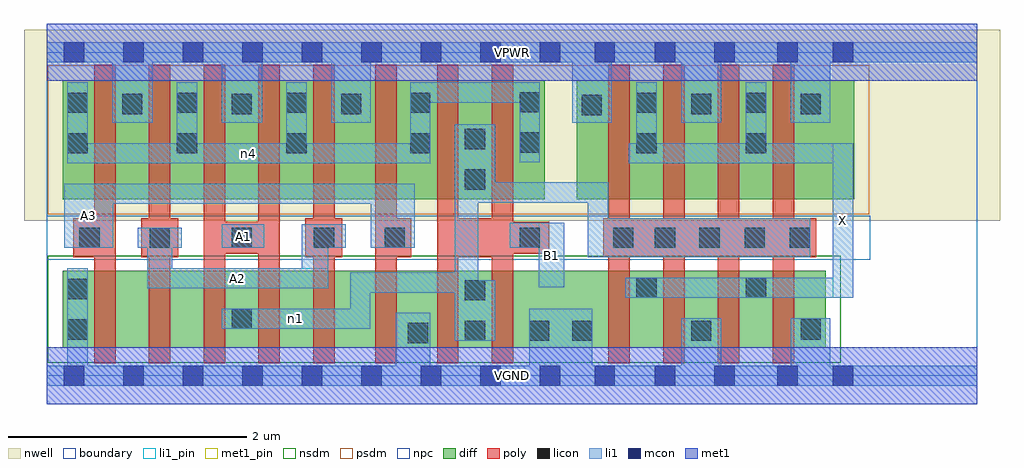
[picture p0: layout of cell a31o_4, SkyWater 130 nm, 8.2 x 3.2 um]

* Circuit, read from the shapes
.subckt a31o_4 A1 A2 A3 B1 VGND VPWR X n1 n4
XM1 n2 A3 VGND VSUBS sky130_fd_pr__nfet_01v8 w=0.65 l=0.18
XM2 n3 A2 n2 VSUBS sky130_fd_pr__nfet_01v8 w=0.65 l=0.18
XM3 n1 A1 n3 VSUBS sky130_fd_pr__nfet_01v8 w=0.65 l=0.18
XM4 n5 A1 n1 VSUBS sky130_fd_pr__nfet_01v8 w=0.65 l=0.18
XM5 n6 A2 n5 VSUBS sky130_fd_pr__nfet_01v8 w=0.65 l=0.18
XM6 VGND A3 n6 VSUBS sky130_fd_pr__nfet_01v8 w=0.65 l=0.18
XM7 n1 B1 VGND VSUBS sky130_fd_pr__nfet_01v8 w=0.65 l=0.18 m=2
XM8 X n1 VGND VSUBS sky130_fd_pr__nfet_01v8 w=0.65 l=0.18 m=4
XM9 VPWR A3 n4 n7 sky130_fd_pr__pfet_01v8 w=1 l=0.18 m=2
XM10 n4 A2 VPWR n7 sky130_fd_pr__pfet_01v8 w=1 l=0.18 m=2
XM11 VPWR A1 n4 n7 sky130_fd_pr__pfet_01v8 w=1 l=0.18 m=2
XM12 n1 B1 n4 n7 sky130_fd_pr__pfet_01v8 w=1 l=0.18 m=2
XM13 X n1 VPWR n7 sky130_fd_pr__pfet_01v8 w=1 l=0.18 m=4
.ends

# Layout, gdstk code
import gdstk
lib = gdstk.Library(unit=1e-6, precision=1e-09)
def R(c, l, rs):  # rectangles x0, y0, x1, y1
    for r in rs: c.add(gdstk.rectangle(r[:2], r[2:], *l))
def A(c, l, x, y, w, h, nx, ny, dx, dy):  # array of equal rectangles
    R(c, l, [(x+i*dx, y+j*dy, x+i*dx+w, y+j*dy+h) for i in range(nx) for j in range(ny)])
nwell = (64, 20)
diff = (65, 20)
poly = (66, 20)
licon = (66, 44)
li1_pin = (67, 16)
li1 = (67, 20)
mcon = (67, 44)
met1_pin = (68, 16)
met1 = (68, 20)
nsdm = (93, 44)
psdm = (94, 20)
npc = (95, 20)
boundary = (235, 4)

a31o_4 = lib.new_cell('a31o_4')
R(a31o_4, nwell, [(-0.19,1.305,8.01,2.91), (0,1.305,7.82,2.91)])
R(a31o_4, diff, [(0.135,0.235,6.545,0.885), (0.135,1.485,4.185,2.485), (4.455,1.485,6.785,2.485)])
A(a31o_4, poly, 0.4, 0.105, 0.18, 2.51, 5, 1, 0.46, 0)
A(a31o_4, poly, 4.72, 0.105, 0.18, 2.51, 4, 1, 0.46, 0)
R(a31o_4, poly, [(2.76,0.105,2.94,2.615), (3.28,0.105,3.46,2.615), (3.74,0.105,3.92,2.615), (0.225,0.995,0.58,1.325), (0.795,0.995,1.105,1.325), (2.175,0.995,2.485,1.325), (2.76,0.995,3.065,1.325), (3.28,0.995,3.92,1.325), (4.675,0.995,6.465,1.325), (1.32,1.025,1.96,1.295), (3.28,1.025,4.225,1.295)])
A(a31o_4, licon, 0.865, 1.075, 0.17, 0.17, 3, 1, 0.69, 0)
A(a31o_4, licon, 5.485, 1.075, 0.17, 0.17, 3, 1, 0.38, 0)
A(a31o_4, licon, 0.175, 1.87, 0.17, 0.17, 3, 2, 0.92, 0.34)
A(a31o_4, licon, 0.635, 2.2, 0.17, 0.17, 3, 1, 0.92, 0)
R(a31o_4, licon, [(3.035,0.275,3.205,0.445), (3.515,0.295,3.685,0.465), (4.055,0.295,4.225,0.465), (4.415,0.295,4.585,0.465), (5.415,0.295,5.585,0.465), (0.175,0.305,0.345,0.475), (6.335,0.305,6.505,0.475), (1.555,0.395,1.725,0.565), (3.515,0.635,3.685,0.805), (0.175,0.645,0.345,0.815), (4.955,0.655,5.125,0.825), (5.875,0.655,6.045,0.825), (0.275,1.075,0.445,1.245), (2.84,1.075,3.01,1.245), (3.975,1.075,4.145,1.245), (4.76,1.075,4.93,1.245), (5.11,1.075,5.28,1.245), (3.515,1.565,3.685,1.735), (3.055,1.87,3.225,2.04), (4.955,1.87,5.125,2.04), (5.875,1.87,6.045,2.04), (3.975,1.875,4.145,2.045), (3.515,1.905,3.685,2.075), (4.495,2.19,4.665,2.36), (5.415,2.2,5.585,2.37), (6.335,2.2,6.505,2.37), (3.055,2.21,3.225,2.38), (4.955,2.21,5.125,2.38), (5.875,2.21,6.045,2.38), (3.975,2.215,4.145,2.385)])
R(a31o_4, li1_pin, [(6.605,0.655,6.775,1.955), (0.845,0.735,2.365,0.905), (4.135,0.745,4.35,1.285), (0.15,1.075,0.56,1.615), (1.47,1.075,1.83,1.275)])
A(a31o_4, li1, 0.175, 1.785, 0.17, 0.68, 3, 1, 0.92, 0)
R(a31o_4, li1, [(0,-0.085,7.82,0.085), (0.175,-0.085,0.345,0.905), (2.935,-0.085,3.225,0.53), (4.055,-0.085,4.585,0.565), (5.33,-0.085,5.67,0.485), (6.25,-0.085,6.585,0.485), (3.43,0.295,3.625,2.115), (3.43,0.295,3.77,0.805), (1.47,0.395,2.72,0.565), (2.55,0.395,2.72,0.87), (4.86,0.655,6.775,0.825), (6.605,0.655,6.775,1.955), (2.55,0.7,3.625,0.87), (0.845,0.735,2.365,0.905), (0.845,0.735,1.055,1.245), (2.145,0.735,2.365,1.275), (4.135,0.745,4.35,1.285), (4.545,0.995,6.415,1.325), (4.545,0.995,4.72,1.625), (0.15,1.075,0.56,1.615), (0.765,1.075,1.135,1.245), (1.47,1.075,1.83,1.275), (2.145,1.075,2.515,1.275), (2.725,1.075,3.095,1.615), (3.89,1.075,4.35,1.285), (0.15,1.445,3.095,1.615), (3.43,1.455,4.72,1.625), (3.43,1.455,3.77,2.115), (0.175,1.785,3.225,1.955), (3.055,1.785,3.225,2.465), (4.89,1.785,6.775,1.955), (4.955,1.785,5.125,2.465), (5.875,1.785,6.045,2.465), (3.975,1.795,4.145,2.465), (0.55,2.125,0.89,2.805), (1.47,2.125,1.81,2.805), (2.39,2.125,2.725,2.805), (4.415,2.125,4.75,2.805), (5.33,2.125,5.67,2.805), (6.25,2.125,6.585,2.805), (3.055,2.295,4.145,2.465), (0,2.635,7.82,2.805)])
A(a31o_4, mcon, 0.145, -0.085, 0.17, 0.17, 9, 2, 0.5, 2.72)
R(a31o_4, mcon, [(4.605,-0.085,4.775,0.085), (5.11,-0.085,5.28,0.085), (5.61,-0.085,5.78,0.085), (6.14,-0.085,6.31,0.085), (6.605,-0.085,6.775,0.085), (4.605,2.635,4.775,2.805), (5.11,2.635,5.28,2.805), (5.61,2.635,5.78,2.805), (6.14,2.635,6.31,2.805), (6.605,2.635,6.775,2.805)])
R(a31o_4, met1_pin, [(0,-0.24,7.82,0.24), (0,2.48,7.82,2.96)])
R(a31o_4, met1, [(0,-0.24,7.82,0.24), (0,2.48,7.82,2.96)])
R(a31o_4, nsdm, [(0.01,0.11,6.67,1.01)])
R(a31o_4, psdm, [(0.01,1.36,6.91,2.61)])
R(a31o_4, npc, [(0,0.975,6.92,1.345)])
R(a31o_4, boundary, [(0,0,7.82,2.72)])
a31o_4.add(gdstk.Label('A1', (1.65,1.175), layer=67, texttype=5))
a31o_4.add(gdstk.Label('A2', (1.605,0.82), layer=67, texttype=5))
a31o_4.add(gdstk.Label('A3', (0.355,1.345), layer=67, texttype=5))
a31o_4.add(gdstk.Label('B1', (4.242,1.015), layer=67, texttype=5))
a31o_4.add(gdstk.Label('X', (6.69,1.305), layer=67, texttype=5))
a31o_4.add(gdstk.Label('n1', (2.095,0.48), layer=67, texttype=5))
a31o_4.add(gdstk.Label('n4', (1.7,1.87), layer=67, texttype=5))
a31o_4.add(gdstk.Label('VPWR', (3.91,2.72), layer=68, texttype=5))
a31o_4.add(gdstk.Label('VGND', (3.91,0), layer=68, texttype=5))
a31o_4.add(gdstk.Label('A1', (1.65,1.175), layer=67, texttype=16))
a31o_4.add(gdstk.Label('A2', (1.605,0.82), layer=67, texttype=16))
a31o_4.add(gdstk.Label('A3', (0.355,1.345), layer=67, texttype=16))
a31o_4.add(gdstk.Label('B1', (4.242,1.015), layer=67, texttype=16))
a31o_4.add(gdstk.Label('X', (6.69,1.305), layer=67, texttype=16))
a31o_4.add(gdstk.Label('VPWR', (3.91,2.72), layer=68, texttype=16))
a31o_4.add(gdstk.Label('VGND', (3.91,0), layer=68, texttype=16))

lib.write_gds('a31o_4.gds')
